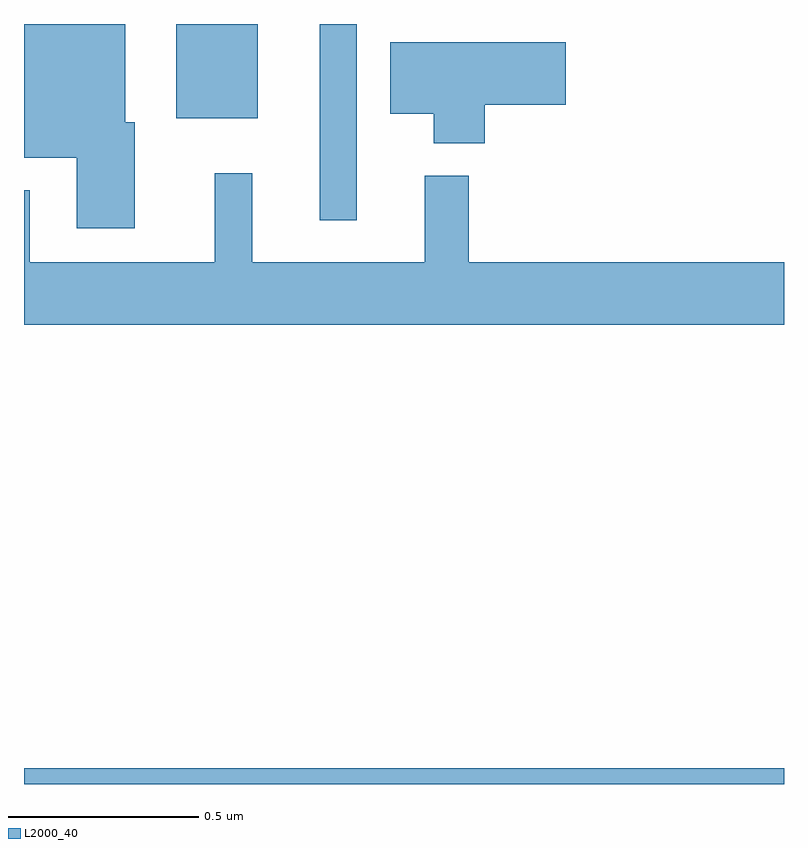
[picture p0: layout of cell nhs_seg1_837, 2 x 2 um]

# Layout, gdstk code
import gdstk
lib = gdstk.Library(unit=1e-6, precision=1e-09)
def R(c, l, rs):  # rectangles x0, y0, x1, y1
    for r in rs: c.add(gdstk.rectangle(r[:2], r[2:], *l))
def P(c, l, *ps):  # polygons
    for p in ps: c.add(gdstk.Polygon(p, *l))
L2000_40 = (2000, 40)

nhs_seg1_837 = lib.new_cell('nhs_seg1_837')
R(nhs_seg1_837, L2000_40, [(121,541.199,123,541.24), (121.778,542.682,121.875,543.199), (121.4,542.951,121.615,543.199)])
P(nhs_seg1_837, L2000_40, [(121.291,542.94),(121.267,542.94),(121.267,543.199),(121,543.199),(121,542.847),(121.139,542.847),(121.139,542.661),(121.291,542.661)],
  [(122.213,542.986),(122.425,542.986),(122.425,543.151),(121.964,543.151),(121.964,542.963),(122.078,542.963),(122.078,542.885),(122.213,542.885)],
  [(123,542.572),(122.171,542.572),(122.171,542.8),(122.054,542.8),(122.054,542.572),(121.601,542.572),(121.601,542.806),(121.502,542.806),(121.502,542.572),(121.015,542.572),(121.015,542.762),(121,542.762),(121,542.408),(123,542.408)])

lib.write_gds('nhs_seg1_837.gds')
